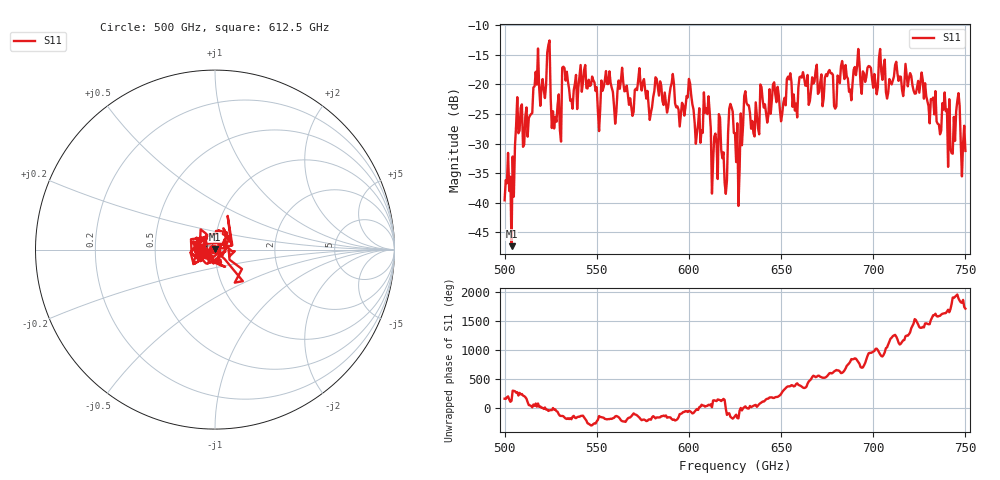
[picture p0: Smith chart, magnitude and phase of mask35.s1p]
!Created with skrf (http://scikit-rf.org).
# GHz S MA R 50.0
!freq magS11 angS11
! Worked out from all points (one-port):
!   401 points, 500 GHz to 750 GHz, reference 50 ohm
!   lowest |S11| = -47.3 dB at 503.8 GHz (marker M1), VSWR 1.01, Z = 49.8 + j0.389 ohm
!   |S11| at or under -10 dB: start of sweep to end of sweep
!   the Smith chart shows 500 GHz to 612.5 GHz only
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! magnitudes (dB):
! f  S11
! 500 GHz  -39.6
! 503.8 GHz  -47.3
! 507.5 GHz  -28.2
! 513.8 GHz  -25.3
! 516.9 GHz  -17.9
! 523.8 GHz  -13.4
! 526.9 GHz  -27.4
! 531.2 GHz  -17.2
! 532.5 GHz  -17.3
! 562.5 GHz  -20.7
! 593.8 GHz  -23.7
! 600 GHz  -19.1
! 605 GHz  -26.7
! 609.4 GHz  -24.1
! 619.4 GHz  -36.6
! 622.5 GHz  -23.3
! 625 GHz  -28.2
! 626.2 GHz  -26.6
! 631.2 GHz  -23.1
! 634.4 GHz  -26.2
! 656.2 GHz  -23.8
! 687.5 GHz  -20.9
! 718.8 GHz  -20.3
! 735.6 GHz  -26.8
! 738.8 GHz  -21.4
! 741.9 GHz  -30.8
! 746.2 GHz  -21.5
! 750 GHz  -31.2
